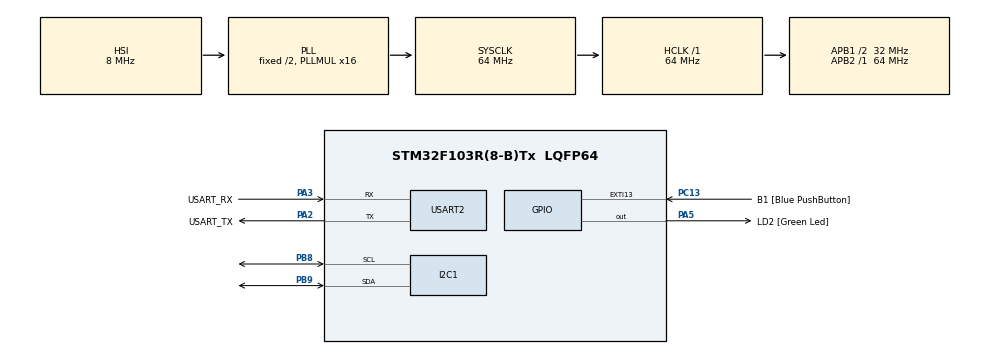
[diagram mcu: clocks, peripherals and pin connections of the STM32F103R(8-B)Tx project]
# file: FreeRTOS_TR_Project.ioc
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Mcu.Family=STM32F1
PC15-OSC32_OUT.Mode=LSE-External-Oscillator
NVIC.DMA1_Channel6_IRQn=true\:0\:0\:false\:false\:true\:false\:true
PA2.GPIO_PuPd=GPIO_NOPULL
Dma.I2C1_TX.0.Instance=DMA1_Channel6
PD1-OSC_OUT.Mode=HSE-External-Clock-Source
NVIC.I2C1_EV_IRQn=true\:0\:0\:false\:false\:true\:true\:true
Dma.I2C1_TX.0.PeriphDataAlignment=DMA_PDATAALIGN_BYTE
Dma.I2C1_TX.0.Direction=DMA_MEMORY_TO_PERIPH
PA14.GPIO_Label=TCK
PA3.GPIO_PuPd=GPIO_NOPULL
PA2.GPIO_Speed=GPIO_SPEED_FREQ_LOW
PC13-TAMPER-RTC.Signal=GPXTI13
PD0-OSC_IN.Signal=RCC_OSC_IN
RCC.APB1CLKDivider=RCC_HCLK_DIV2
PC14-OSC32_IN.Signal=RCC_OSC32_IN
PA3.GPIO_Speed=GPIO_SPEED_FREQ_LOW
RCC.SYSCLKSource=RCC_SYSCLKSOURCE_PLLCLK
ProjectManager.StackSize=0x400
PD1-OSC_OUT.Signal=RCC_OSC_OUT
PA3.Mode=Asynchronous
PA13.Signal=SYS_JTMS-SWDIO
ProjectManager.TargetToolchain=STM32CubeIDE
I2C1.I2C_Mode=I2C_Fast
PA3.GPIO_Mode=GPIO_MODE_AF_PP
RCC.HCLKFreq_Value=64000000
PB9.Mode=I2C
RCC.APB2TimFreq_Value=64000000
Dma.I2C1_TX.0.Priority=DMA_PRIORITY_LOW
RCC.USBFreq_Value=64000000
PC15-OSC32_OUT.Signal=RCC_OSC32_OUT
RCC.AHBFreq_Value=64000000
PD0-OSC_IN.Mode=HSE-External-Clock-Source
NVIC.EXTI15_10_IRQn=true\:0\:0\:false\:false\:true\:true\:true
PA5.Signal=GPIO_Output
board=NUCLEO-F103RB
RCC.RTCClockSelection=RCC_RTCCLKSOURCE_LSE
PC13-TAMPER-RTC.GPIO_Label=B1 [Blue PushButton]
RCC.PLLMUL=RCC_PLL_MUL16
RCC.APB2Freq_Value=64000000
PC14-OSC32_IN.Mode=LSE-External-Oscillator
PA5.GPIO_ModeDefaultOutputPP=GPIO_MODE_OUTPUT_PP
PA14.Mode=Serial_Wire
Dma.I2C1_TX.0.MemInc=DMA_MINC_ENABLE
PA5.GPIO_PuPd=GPIO_NOPULL
PA13.Mode=Serial_Wire
Mcu.Name=STM32F103R(8-B)Tx
PA2.Signal=USART2_TX
PA13.GPIO_Label=TMS
PB3.Signal=SYS_JTDO-TRACESWO
RCC.SYSCLKFreq_VALUE=64000000
Dma.I2C1_TX.0.PeriphInc=DMA_PINC_DISABLE
Mcu.Package=LQFP64
PB9.Signal=I2C1_SDA
PA5.GPIO_Label=LD2 [Green Led]
USART2.VirtualMode=VM_ASYNC
PC13-TAMPER-RTC.GPIO_PuPd=GPIO_NOPULL
PA2.GPIO_Label=USART_TX
PA14.Signal=SYS_JTCK-SWCLK
ProjectManager.HeapSize=0x200
Dma.I2C1_TX.0.MemDataAlignment=DMA_MDATAALIGN_BYTE
PA5.GPIO_Speed=GPIO_SPEED_FREQ_LOW
NVIC.PriorityGroup=NVIC_PRIORITYGROUP_4
PB8.Mode=I2C
RCC.APB1TimFreq_Value=64000000
PA2.Mode=Asynchronous
PB8.Signal=I2C1_SCL
Dma.I2C1_TX.0.Mode=DMA_NORMAL
Dma.Request0=I2C1_TX
RCC.APB1Freq_Value=32000000
PA3.GPIO_Label=USART_RX
PA3.Signal=USART2_RX
PA2.GPIO_Mode=GPIO_MODE_AF_PP
PB3.GPIO_Label=SWO

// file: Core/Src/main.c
/* USER CODE BEGIN Header */
/**
  ******************************************************************************
  * @file           : main.c
  * @brief          : Main program body
  ******************************************************************************
  * @attention
  *
  * <h2><center>&copy; Copyright (c) 2021 STMicroelectronics.
  * All rights reserved.</center></h2>
  *
  * This software component is licensed by ST under BSD 3-Clause license,
  * the "License"; You may not use this file except in compliance with the
  * License. You may obtain a copy of the License at:
  *                        opensource.org/licenses/BSD-3-Clause
  *
  ******************************************************************************
  */
/* USER CODE END Header */
#include "main.h"
#include "dma.h"
#include "i2c.h"
#include "usart.h"
#include "gpio.h"

/* USER CODE BEGIN Includes */
#include "stdio.h"
#include "stdlib.h"
#include "string.h"
#include "OLED_SSD1306.h"
#include "GFX_BW.h"
#include "fonts/fonts.h"
#include "picture.h"
/* USER CODE END Includes */

/* USER CODE BEGIN PV */
volatile uint16_t timer_1s;
/* USER CODE END PV */

void SystemClock_Config(void);

int main(void)
{

  /* MCU Configuration--------------------------------------------------------*/

  /* Reset of all peripherals, Initializes the Flash interface and the Systick. */
  HAL_Init();

  /* Configure the system clock */
  SystemClock_Config();

  /* Initialize all configured peripherals */
  MX_GPIO_Init();
  MX_DMA_Init();
  MX_USART2_UART_Init();
  MX_I2C1_Init();
  /* USER CODE BEGIN 2 */
  	  //Create Windows
  GFX_td *MainWindow    = GFX_CreateScreen();
  GFX_td *WindowS1      = GFX_CreateWindow(120,32);
  GFX_td *WindowVerScr  = GFX_CreateWindow(120,16);
  GFX_td *WindowHorScr  =GFX_CreateWindow(60,8);

  GFX_SetFont(font_8x5);
  GFX_SetFontSize(1);
  SSD1306_I2cInit(&hi2c1);

  SSD1306_Bitmap((uint8_t*)picture);
  HAL_Delay(200);

  uint16_t zmiana = 0;
  char zmiana_c[20];
  uint32_t zT1=0;

  /* USER CODE END 2 */

  /* Infinite loop */
  /* USER CODE BEGIN WHILE */
  while (1)
  {
	  		  zmiana++;
	  	if(hi2c1.hdmatx->State == HAL_DMA_STATE_READY)
	  	{
	  		GFX_ClearBuffer(MainWindow,LCDWIDTH, LCDHEIGHT);

			sprintf(zmiana_c, "ILOSC: %02d", zmiana);
	  		GFX_DrawString(MainWindow,10,10, zmiana_c, WHITE, BLACK);

	  		GFX_ClearBuffer(WindowS1,WindowS1->WindowWidth, WindowS1->WindowHeigh);
	  		GFX_DrawString(WindowS1,0,0, "POZDRAWIAM ALLS", WHITE, BLACK);
	  		//GFX_DrawString(WindowS1,0,8, "UDALO SIE", WHITE, BLACK);

			GFX_PutWindow(WindowS1, MainWindow, 5, 20);
		  	GFX_PutWindow(WindowVerScr, MainWindow, 20, 36);
		  	GFX_PutWindow(WindowHorScr, MainWindow, 20, 56);

	  		if( (zT1+30) < HAL_GetTick() )
	  		{
	  			zT1=HAL_GetTick();
//			  	GFX_WindowRotate(WindowS1, 24, 8, 1, 90);
//			  	GFX_Window_ScrollRight(ImageIn, ImageOut, inrows, incol, color, numRowShift)
	  			//GFX_Window_Hor_ScrollRight(WindowS1, WindowVerScr, 40, 8, 1, 60);
//	  			GFX_Window_VerScroll(GFX_td *ImageIn,GFX_td *ImageOut,int inrows, int incol,uint8_t color, int numRowShift)
		  		GFX_ClearBuffer(WindowVerScr,WindowVerScr->WindowWidth, WindowVerScr->WindowHeigh);
	  			GFX_Window_VerScrollFlow(WindowS1, WindowVerScr , 120, 16, 1, 16,0);
		  		GFX_ClearBuffer(WindowHorScr,WindowHorScr->WindowWidth, WindowHorScr->WindowHeigh);
	  			GFX_Window_Hor_ScrollRight(WindowS1, WindowHorScr,120, 8,1, 90+7);
	  		}

		  		GFX_DrawCircle(MainWindow, 90, 10, 10, 1);
		  		HAL_GPIO_WritePin(LD2_GPIO_Port, LD2_Pin, 1);
		  		SSD1306_Display(MainWindow);
	  	}
	  	  HAL_GPIO_WritePin(LD2_GPIO_Port, LD2_Pin, 0);
	  	  HAL_Delay(10);

    /* USER CODE END WHILE */

  }
}

void SystemClock_Config(void)
{
  RCC_OscInitTypeDef RCC_OscInitStruct = {0};
  RCC_ClkInitTypeDef RCC_ClkInitStruct = {0};

  /** Initializes the RCC Oscillators according to the specified parameters
  * in the RCC_OscInitTypeDef structure.
  */
  RCC_OscInitStruct.OscillatorType = RCC_OSCILLATORTYPE_HSI;
  RCC_OscInitStruct.HSIState = RCC_HSI_ON;
  RCC_OscInitStruct.HSICalibrationValue = RCC_HSICALIBRATION_DEFAULT;
  RCC_OscInitStruct.PLL.PLLState = RCC_PLL_ON;
  RCC_OscInitStruct.PLL.PLLSource = RCC_PLLSOURCE_HSI_DIV2;
  RCC_OscInitStruct.PLL.PLLMUL = RCC_PLL_MUL16;
  if (HAL_RCC_OscConfig(&RCC_OscInitStruct) != HAL_OK)
  {
    Error_Handler();
  }
  /** Initializes the CPU, AHB and APB buses clocks
  */
  RCC_ClkInitStruct.ClockType = RCC_CLOCKTYPE_HCLK|RCC_CLOCKTYPE_SYSCLK
                              |RCC_CLOCKTYPE_PCLK1|RCC_CLOCKTYPE_PCLK2;
  RCC_ClkInitStruct.SYSCLKSource = RCC_SYSCLKSOURCE_PLLCLK;
  RCC_ClkInitStruct.AHBCLKDivider = RCC_SYSCLK_DIV1;
  RCC_ClkInitStruct.APB1CLKDivider = RCC_HCLK_DIV2;
  RCC_ClkInitStruct.APB2CLKDivider = RCC_HCLK_DIV1;

  if (HAL_RCC_ClockConfig(&RCC_ClkInitStruct, FLASH_LATENCY_2) != HAL_OK)
  {
    Error_Handler();
  }
}

void Error_Handler(void)
{
  __disable_irq();
  while (1)
  {
  }
}

/************************ (C) COPYRIGHT STMicroelectronics *****END OF FILE****/
